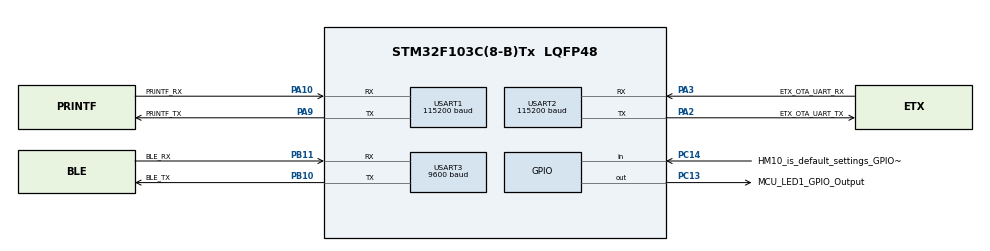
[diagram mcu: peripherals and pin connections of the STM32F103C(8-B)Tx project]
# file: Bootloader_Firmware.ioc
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Mcu.Family=STM32F1
Mcu.Name=STM32F103C(8-B)Tx
Mcu.Package=LQFP48
NVIC.PriorityGroup=NVIC_PRIORITYGROUP_4
PA10.GPIO_Label=PRINTF_RX
PA10.Mode=Asynchronous
PA10.Signal=USART1_RX
PA2.GPIO_Label=ETX_OTA_UART_TX
PA2.Mode=Asynchronous
PA2.Signal=USART2_TX
PA3.GPIO_Label=ETX_OTA_UART_RX
PA3.Mode=Asynchronous
PA3.Signal=USART2_RX
PA9.GPIO_Label=PRINTF_TX
PA9.Mode=Asynchronous
PA9.Signal=USART1_TX
PB10.GPIO_Label=BLE_TX
PB10.Mode=Asynchronous
PB10.Signal=USART3_TX
PB11.GPIO_Label=BLE_RX
PB11.Mode=Asynchronous
PB11.Signal=USART3_RX
PC13-TAMPER-RTC.GPIO_Label=MCU_LED1_GPIO_Output
PC13-TAMPER-RTC.PinState=GPIO_PIN_SET
PC13-TAMPER-RTC.Signal=GPIO_Output
PC14-OSC32_IN.GPIO_Label=HM10_is_default_settings_GPIO_Input
PC14-OSC32_IN.Signal=GPIO_Input
PD0-OSC_IN.Mode=HSE-External-Oscillator
PD0-OSC_IN.Signal=RCC_OSC_IN
PD1-OSC_OUT.Mode=HSE-External-Oscillator
PD1-OSC_OUT.Signal=RCC_OSC_OUT
ProjectManager.HeapSize=0x200
ProjectManager.StackSize=0x400
ProjectManager.TargetToolchain=STM32CubeIDE
RCC.AHBCLKDivider=RCC_SYSCLK_DIV4
RCC.AHBFreq_Value=2000000
RCC.APB1Freq_Value=2000000
RCC.APB1TimFreq_Value=2000000
RCC.APB2Freq_Value=2000000
RCC.APB2TimFreq_Value=2000000
RCC.HCLKFreq_Value=2000000
RCC.PLLSourceVirtual=RCC_PLLSOURCE_HSE
RCC.SYSCLKSource=RCC_SYSCLKSOURCE_HSE
RCC.TimSys_Div=SYSTICK_CLKSOURCE_HCLK_DIV8
RCC.USBFreq_Value=16000000
USART1.BaudRate=115200
USART1.VirtualMode=VM_ASYNC
USART2.BaudRate=115200
USART2.VirtualMode=VM_ASYNC
USART3.BaudRate=9600
USART3.VirtualMode=VM_ASYNC
VP_SYS_VS_ND.Mode=No_Debug
board=custom

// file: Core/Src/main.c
/* USER CODE BEGIN Header */
/** @file
 	@brief	Main file at which the main/actual application of our MCU/MPU lies at.
 *
 * @defgroup main Main module
 * @{
 *
 * @brief	This is the Main Module, which is where the main part of the application of the whole code is executed.
 *
 * @details	The purpose of this module is to provide a code template for any general purpose Bootloader that is desired
 *          to be developed for an STM32 MCU/MPU in which such a template already provides the code to manage and handle
 *          Firmware Updates via the Mortrack's ETX OTA Protocol which uses the @ref firmware_update_config .
 *
 * @note    This @ref main template is actually functioning as a Bootloader Firmware, which has an Application Firmware
 *          counterpart that should be located in an independent project to this, but that should be located just
 *          next to the root folder where this @ref main project's File Path is located at.
 *
 * @details The logic contemplated in this @ref main template assumes that either Bootloader or Application Firmware
 *          Updates will be requested to this @ref main program. The way that this will work is that if this @ref main
 *          program receives a Bootloader Firmware Image via the ETX OTA Protocol made by Mortrack, then it will
 *          temporarily store it into the Flash Memory designated to the Application Firmware (i.e., at
 *          @ref APLICATION_FIRMWARE_ADDRESS ) and then it will reboot. After reboot, this @ref main program expects
 *          that there is another independent program (i.e., The Pre-Bootloader program) installed into our MCU/MPU that
 *          runs first and handles the installation of the temporarily stored Bootloader Firmware Image into the Flash
 *          Memory designated to the Bootloader Firmware (i.e., at @ref BOOTLOADER_FIRMWARE_ADDRESS ) that was just
 *          mentioned. On the other hand, if an Application Firmware Image is received instead by this @ref main
 *          program, then this @ref main program will install it into the Flash Memory designated to the Application
 *          Firmware (i.e., at @ref APLICATION_FIRMWARE_ADDRESS ) and will then also reboot our MCU/MPU. However, if no
 *          Firmware Image Update is requested to our @ref main program for whatever the @ref ETX_CUSTOM_HAL_TIMEOUT
 *          lasts, then our MCU/MPU will jump into whatever Application Firmware Image it has installed in it but only
 *          if its 32-bit CRC validation passes successfully. Otherwise, if there is no Application Firmware Image
 *          installed into our MCU/MPU, then the @ref main program will loop into waiting for a Firmware Image Update
 *          request from a host machine.
 *
 * @note    This @ref main program expects our MCU/MPU to have an Application Firmware counterpart that uses the ETX OTA
 *          Protocol made by Mortrack, which is where the implementer's actual application purpose for our MCU/MPU
 *          should lie on.
 * @note    In the case that the implementer desires to update either only the Bootloader or both the Bootloader and
 *          Application Firmwares of our MCU/MPU, then the order of the updates should strictly be first for the
 *          Bootloader and then the Application should be installed secondly. The reason for this lies in that if only
 *          the Bootloader is updated, then our MCU/MPU will lose its Application Firmware with which it was last
 *          working with, reason for which, whenever updating the Bootloader, then the Application Firmware should also
 *          be updated after that. On the other hand, if only the Application is desired to be updated, then this can be
 *          directly done and the MCU/MPU should maintain its current Bootloader Firmware intact but now with its new
 *          Application Firmware.
 * @note    Only for the first time you install this @ref main Bootloader program into your MCU/MPU, you must do this
 *          Firmware installation via the STM32 ST-LINK Utility application provided by the STMicroelectronics Team. In
 *          addition, you should also install the Pre-Bootloader (located at an independent project to @ref main , next
 *          to the root folder of the @ref main project File Path) also via the STM32 ST-LINK Utility app. After that,
 *          all the subsequent times that you want to install either an updated code of this @ref main Bootloader or an
 *          Application Firmware (Application Firmware template located at independent project to @ref main , next to
 *          the root folder of the @ref main project File Path), then they may now be made and should be made only via
 *          the ETX OTA Protocol made by Mortrack. This is strictly necessary for the Application Firmware because the
 *          Configuration Settings of the @ref firmware_update_config are changed whenever that happens and this is
 *          strictly required and expected by the Application Firmware Installations that uses the ETX OTA Protocol.
 *
 * @author 	Cesar Miranda Meza (cmirandameza3@hotmail.com)
 * @date	February 09, 2024.
 */
/* USER CODE END Header */
#include "main.h"

/* USER CODE BEGIN Includes */
#include <stdio.h>	// Library from which "printf" is located at.
#include <stdint.h> // This library contains the aliases: uint8_t, uint16_t, uint32_t, etc.
#include "bl_side_etx_ota.h" // This custom Mortrack's library contains the functions, definitions and variables required so that the Main module can receive and apply Firmware Update Images to our MCU/MPU.
/* USER CODE END Includes */

/* USER CODE BEGIN PD */
#define BOOTLOADER_FIRMWARE_ADDRESS					(ETX_BL_FLASH_ADDR)						/**< @brief Designated Memory Location address for the Bootloader Firmware. */
#define APLICATION_FIRMWARE_ADDRESS					(ETX_APP_FLASH_ADDR)					/**< @brief Designated Memory Location address for the Application Firmware. */
#define APPLICATION_FIRMWARE_RESET_HANDLER_ADDRESS 	(APLICATION_FIRMWARE_ADDRESS + 4U)		/**< @brief Designated Memory Location address for the Reset Handler of the Application Firmware. */
#define GPIO_MCU_LED1_Pin							(GPIO_PIN_13)							/**< @brief Label for Pin PC13 in Output Mode, which is the Green LED1 of our MCU that the @ref main module will use in its program for indicating to the user whenever our MCU/MPU gets a software error or not. @details The following are the output states to be taken into account:<br><br>* 0 (i.e., Low State and also LED1 turned On) = MCU got a Software Error.<br>* 1 (i.e., High State and also LED1 turned Off) = MCU has no software error. */
#define GPIO_is_hm10_default_settings_Port 			((GPIO_TypeDef *) GPIOC)				/**< @brief @ref GPIO_TypeDef Type of the GPIO Port towards which the Input Mode GPIO Pin PC14 will be used so that our MCU can know whether the user wants it to set the default configuration settings in the HM-10 BT Device or not. */
#define GPIO_is_hm10_default_settings_Pin			(GPIO_PIN_14)							/**< @brief Label for the GPIO Pin 14 towards which the GPIO Pin PC14 in Input Mode is at, which is used so that our MCU can know whether the user wants it to set the default configuration settings in the HM-10 BT Device or not. @details The following are the possible values of this Pin:<br><br>* 0 (i.e., Low State) = Do not reset/change the configuration settings of the HM-10 BT Device.<br>* 1 (i.e., High State) = User requests to reset the configuration settings of the HM-10 BT Device to its default settings. */
#define MAJOR 										(0)										/**< @brief Major version number of our MCU/MPU's Bootloader Firmware. */
#define MINOR 										(4)										/**< @brief Minor version number of our MCU/MPU's Bootloader Firmware. */
/* USER CODE END PD */

UART_HandleTypeDef huart1;
UART_HandleTypeDef huart2;
UART_HandleTypeDef huart3;

/* USER CODE BEGIN PV */
// NOTE: "huart1" is used for debugging messages via printf() from stdio.h library.
// NOTE: "huart2" is used for communicating with the host that will be sending firmware images to our MCU via the ETX OTA Protocol with the UART Hardware Protocol.
// NOTE: "huart3" is used for communicating with the host that will be sending firmware images to our MCU via the ETX OTA Protocol with the BT Hardware Protocol.
const uint8_t BL_version[2] = {MAJOR, MINOR};    /**< @brief Global array variable used to hold the Major and Minor version number of our MCU/MPU's Bootloader Firmware in the 1st and 2nd byte respectively. */
firmware_update_config_data_t fw_config;				 /**< @brief Global struct used to either pass to it the data that we want to write into the designated Flash Memory pages of the @ref firmware_update_config sub-module or, in the case of a read request, where that sub-module will write the latest data contained in the sub-module. */
static HM10_GPIO_def_t GPIO_is_hm10_default_settings;    /**< @brief Global variable that will to hold the GPIO pin parameters of the Input Mode GPIO Pin to be used so that our MCU can know whether the user wants it to set the default configuration settings in the HM-10 BT Device or not. */
/* USER CODE END PV */

void SystemClock_Config(void);
static void MX_GPIO_Init(void);
static void MX_USART1_UART_Init(void);
static void MX_USART2_UART_Init(void);
static void MX_USART3_UART_Init(void);
/* USER CODE BEGIN PFP */

/**@brief	Initializes the @ref firmware_update_config sub-module and then loads the latest data that has been written
 *          into it, if there is any. However, in the case that any of these processes fail, then this function will
 *          endlessly loop via a \c while() function and set the @ref GPIO_MCU_LED1_Pin to @ref GPIO_PIN_RESET state.
 *
 * @details	In case that all the processes conclude successfully, the latest data of the @ref firmware_update_config
 *          sub-module will be copied into the global struct \c fw_config .
 *
 * @details	A maximum of three attempts to initialize this module will be made, with a delay of 0.5 seconds each.
 *
 * @author	César Miranda Meza (cmirandameza3@hotmail.com)
 * @date	November 19, 2023
 */
static void custom_firmware_update_config_init(void);

/**@brief	Initializes the @ref bl_side_etx_ota with a desired Hardware Protocol and, only in the case that the
 *          initialization is unsuccessful, then this function will endlessly loop via a \c while() function and set the
 *          @ref GPIO_MCU_LED1_Pin to @ref GPIO_PIN_RESET state.
 *
 * @details	This function creates and populate the fields of three structs required for initializing the
 *          @ref bl_side_etx_ota via the @ref init_firmware_update_module function. In the case where that function
 *          initializes the @ref bl_side_etx_ota successfully, then this
 *          @ref custom_firmware_update_config_init function will terminate. Otherwise, it will endlessly loop via a \c
 *          while() function and set the @ref GPIO_MCU_LED1_Pin to @ref GPIO_PIN_RESET state.
 *
 * @note    The @ref fw_config Global struct must have already been populated with the latest data written into the
 *          @ref firmware_update_config before calling this function.
 *
 * @param hw_protocol   ETX OTA Hardware Protocol that is desired to enable whenever using the ETX OTA Protocol.
 * @param[in] p_huart   Pointer to the UART that wants to be used from our MCU/MPU as the means for using the chosen ETX
 *                      OTA Hardware Protocol.
 *
 * @author	César Miranda Meza
 * @date	November 19, 2023
 */
static void custom_init_etx_ota_protocol_module(ETX_OTA_hw_Protocol hw_protocol, UART_HandleTypeDef *p_huart);

/**@brief	Validates the CRC of our MCU/MPU's current Bootloader Firmware and, only in the case that the Bootloader
 *          Firmware is not valid or is corrupted, then this function will endlessly loop via a \c while() function and
 *          set the @ref GPIO_MCU_LED1_Pin to @ref GPIO_PIN_RESET state.
 *
 * @details	This function reads the data stored in the @ref firmware_update_config via the @ref fw_config Global struct
 *          to get the recorded CRC of the Bootloader Firmware and it calculates the CRC of the actual Bootloader
 *          Firmware currently installed in our MCU/MPU. After this, both CRCs are used for validating our MCU/MPU's
 *          current Bootloader Firmware. If both CRCs match or if there is no recorded CRC stored at the @ref fw_config
 *          Global struct, then this function will terminate. Otherwise, it will endlessly loop via a \c while()
 *          function and set the @ref GPIO_MCU_LED1_Pin to @ref GPIO_PIN_RESET state.
 *
 * @note    The @ref fw_config Global struct must have already been populated with the latest data written into the
 *          @ref firmware_update_config before calling this function.
 *
 * @author	César Miranda Meza
 * @date	November 19, 2023
 */
static void validate_bootloader_firmware(void);

/**@brief	Validates the CRC of our MCU/MPU's current Application Firmware.
 *
 * @details	This function reads the data stored in the @ref firmware_update_config sub-module to get the recorded CRC of
 *          the Application Firmware and it calculates the CRC of the actual Application Firmware currently installed in
 *          our MCU/MPU. After this, both CRCs are used for validating our MCU/MPU's current Application Firmware.
 *
 * @param[out] is_app_fw_validation_ok  Pointer to the Memory Location Address where the Flag value for used to indicate
 *                                      whether the Application Firmware has been successfully validated or not is
 *                                      located at. The possible valid values of this Flag are the following:<br><br> -
 *                                      0 = There is either no Firmware Image installed at the designated Flash Memory
 *                                      of the Application Firmware or, if there is one, it either did not pass the
 *                                      32-bit CRC validation or, a Bootloader Firmware was identified to be there.<br>
 *                                      - 1 = There is a valid Application Firmware Image installed at the designated
 *                                      Flash Memory of the Application Firmware.
 *
 * @author	César Miranda Meza
 * @date	November 19, 2023
 */
static void validate_application_firmware(uint8_t *is_app_fw_validation_ok);

/**@brief	Flushes the Rx of a desired UART.
 *
 * @param[in] p_huart	Pointer towards the UART from which it is desired to flush its Rx.
 *
 * @author 	Cesar Miranda Meza (cmirandameza3@hotmail.com)
 * @date	February 08, 2024.
 */
static void HAL_uart_rx_flush(UART_HandleTypeDef *p_huart);

/**@brief	Makes our MCU/MPU to jump into its Application Firmware.
 *
 * @author	César Miranda Meza
 * @date	July 16, 2023
 */
static void goto_application_firmware(void);

/* USER CODE END PFP */

int main(void)
{

  /* MCU Configuration--------------------------------------------------------*/

  /* Reset of all peripherals, Initializes the Flash interface and the Systick. */
  HAL_Init();

  /* Configure the system clock */
  SystemClock_Config();

  /* Initialize all configured peripherals */
  MX_GPIO_Init();
  MX_USART1_UART_Init();
  MX_USART2_UART_Init();
  MX_USART3_UART_Init();
  /* USER CODE BEGIN 2 */

  /** <b>Local variable is_app_fw_validation_ok:</b> Flag used to indicate whether the Application Firmware has been successfully validated via its CRC with a \c 1 or, otherwise with a \c 0 . */
  uint8_t is_app_fw_validation_ok = 1;
  /** <b>Local variable end_tick:</b> Will hold the HAL Ticks that our MCU/MPU needs to reach so that 3 seconds have passed with respect to the moment that our MCU/MPU enters into DFU mode. */
  uint32_t end_tick;
  /** <b>Local variable current_tick:</b> Current HAL Tick in our MCU/MPU. */
  uint32_t current_tick;
  /** <b>Local variable ret:</b> Used to hold the exception code value returned by a @ref ETX_OTA_Status function type. */
  ETX_OTA_Status ret;

  /* Send a message from the Bootloader showing the current Bootloader version there. */
  printf("Starting Bootloader v%d.%d\r\n", BL_version[0], BL_version[1]);

  /* We initialize the Firmware Update Configurations sub-module and the ETX OTA Protocol module. */
  custom_firmware_update_config_init();
  custom_init_etx_ota_protocol_module(ETX_OTA_hw_Protocol_BT, &huart3);

  /* Validate both the Bootloader and Application Firmwares in our MCU/MPU. */
  validate_bootloader_firmware();
  validate_application_firmware(&is_app_fw_validation_ok);

  /* Execute the Delay for the Pre ETX OTA Requests Hearing stage and then flush the Rx of the UART from which the ETX OTA Protocol will be used in this MCU/MPU. */
  HAL_Delay(PRE_ETX_OTA_REQUESTS_HEARING_DELAY);
  HAL_uart_rx_flush(&huart3);

  /*
   Check if a Firmware Image is received during the next @ref ETX_CUSTOM_HAL_TIMEOUT seconds and, if true, install it
   if it is an Application Firmware Image. Otherwise, jump the MCU/MPU into its Application Firmware. However, if there
   is no existing or valid Application Firmware installed in our MCU, then wait indefinitely to receive an Application
   Firmware Update via the ETX OTA Protocol.
   */
  end_tick = HAL_GetTick() + ETX_CUSTOM_HAL_TIMEOUT;
  #if ETX_OTA_VERBOSE
    printf("Our MCU/MPU has entered into DFU mode...\r\n");
    printf("Waiting to receive Application Firmware Image to trigger firmware update...\r\n");
  #endif
  do
  {
	  do
	  {
		  printf("Waiting for an ETX OTA Transaction...\r\n");
		  ret = firmware_image_download_and_install();
		  switch (ret)
		  {
			case ETX_OTA_EC_OK:
				#if ETX_OTA_VERBOSE
					if (fw_config.is_bl_fw_install_pending == IS_PENDING)
					{
						printf("DONE: Bootloader Firmware Image has been successfully stored in the Flash Memory! Rebooting MCU/MPU to install it...\r\n");
					}
					else
					{
						printf("DONE: Application Firmware Update has successfully concluded! Rebooting MCU/MPU...\r\n");
					}
				#endif
				HAL_NVIC_SystemReset();
				break;
			case ETX_OTA_EC_STOP:
				#if ETX_OTA_VERBOSE
					printf("DONE: Firmware Update process has been aborted. Try again...\r\n");
				#endif
				current_tick = HAL_GetTick();
				break;
			case ETX_OTA_EC_NR:
				// No response was received from host. Therefore, try hearing for a response from the host again in case our MCU/MPU is still in DFU mode.
				current_tick = HAL_GetTick();
				break;
			case ETX_OTA_EC_NA:
				#if ETX_OTA_VERBOSE
					printf("WARNING: Application or Bootloader Firmware Image was expected, but request for something else was received instead.\r\n");
				#endif
				current_tick = HAL_GetTick();
				break;
			case ETX_OTA_EC_ERR:
				#if ETX_OTA_VERBOSE
				    printf("ERROR: ETX OTA process has failed. Try again...\r\n");
                #endif
                current_tick = HAL_GetTick();
				break;
			default:
				#if ETX_OTA_VERBOSE
					printf("ERROR: Exception Code received %d is not recognized. Our MCU/MPU will halt!.\r\n", ret);
				#endif
				HAL_GPIO_WritePin(GPIOC, GPIO_MCU_LED1_Pin, GPIO_PIN_RESET);
				while (1);
		  }
	  }
	  while ((current_tick<end_tick) || (is_app_fw_validation_ok==0));

	  /* We validate the currently installed Application Firmware once more in our MCU/MPU to verify that it is still OK. */
	  /*
	     NOTE:  The following validation helps the @ref main program to correctly tell if the current Application
	            Firmware is currently valid whenever we have the case that it was originally valid during the
	            initialization of the @ref program, but where "along the way", there was an ETX OTA Firmware Update
	            transaction that could not be completed and, therefore, having as a result that the current Application
	            Firmware is no longer valid. Therefore, by validating the Application Firmware again here, the @ref main
	            program can guarantee to successfully loop in the Bootloader Firmware and continue asking for an ETX OTA
	            Request until an ETX OTA Firmware Update transaction is successfully completed.
      */
	  validate_application_firmware(&is_app_fw_validation_ok);
  }
  while (is_app_fw_validation_ok == 0);
  /* Make the MCU/MPU jump into its Application Firmware. */
  #if ETX_OTA_VERBOSE
    printf("Our MCU/MPU has leaved DFU mode.\r\n");
  #endif
  goto_application_firmware();

  /* USER CODE END 2 */

  /* Infinite loop */
  while (1)
  {

  }
}

void SystemClock_Config(void)
{
  RCC_OscInitTypeDef RCC_OscInitStruct = {0};
  RCC_ClkInitTypeDef RCC_ClkInitStruct = {0};

  /** Initializes the RCC Oscillators according to the specified parameters
  * in the RCC_OscInitTypeDef structure.
  */
  RCC_OscInitStruct.OscillatorType = RCC_OSCILLATORTYPE_HSE;
  RCC_OscInitStruct.HSEState = RCC_HSE_ON;
  RCC_OscInitStruct.PLL.PLLState = RCC_PLL_NONE;
  if (HAL_RCC_OscConfig(&RCC_OscInitStruct) != HAL_OK)
  {
    Error_Handler();
  }

  /** Initializes the CPU, AHB and APB buses clocks
  */
  RCC_ClkInitStruct.ClockType = RCC_CLOCKTYPE_HCLK|RCC_CLOCKTYPE_SYSCLK
                              |RCC_CLOCKTYPE_PCLK1|RCC_CLOCKTYPE_PCLK2;
  RCC_ClkInitStruct.SYSCLKSource = RCC_SYSCLKSOURCE_HSE;
  RCC_ClkInitStruct.AHBCLKDivider = RCC_SYSCLK_DIV4;
  RCC_ClkInitStruct.APB1CLKDivider = RCC_HCLK_DIV1;
  RCC_ClkInitStruct.APB2CLKDivider = RCC_HCLK_DIV1;

  if (HAL_RCC_ClockConfig(&RCC_ClkInitStruct, FLASH_LATENCY_0) != HAL_OK)
  {
    Error_Handler();
  }
}

static void MX_USART1_UART_Init(void)
{

  huart1.Instance = USART1;
  huart1.Init.BaudRate = 115200;
  huart1.Init.WordLength = UART_WORDLENGTH_8B;
  huart1.Init.StopBits = UART_STOPBITS_1;
  huart1.Init.Parity = UART_PARITY_NONE;
  huart1.Init.Mode = UART_MODE_TX_RX;
  huart1.Init.HwFlowCtl = UART_HWCONTROL_NONE;
  huart1.Init.OverSampling = UART_OVERSAMPLING_16;
  if (HAL_UART_Init(&huart1) != HAL_OK)
  {
    Error_Handler();
  }

}

static void MX_USART2_UART_Init(void)
{

  huart2.Instance = USART2;
  huart2.Init.BaudRate = 115200;
  huart2.Init.WordLength = UART_WORDLENGTH_8B;
  huart2.Init.StopBits = UART_STOPBITS_1;
  huart2.Init.Parity = UART_PARITY_NONE;
  huart2.Init.Mode = UART_MODE_TX_RX;
  huart2.Init.HwFlowCtl = UART_HWCONTROL_NONE;
  huart2.Init.OverSampling = UART_OVERSAMPLING_16;
  if (HAL_UART_Init(&huart2) != HAL_OK)
  {
    Error_Handler();
  }

}

static void MX_USART3_UART_Init(void)
{

  huart3.Instance = USART3;
  huart3.Init.BaudRate = 9600;
  huart3.Init.WordLength = UART_WORDLENGTH_8B;
  huart3.Init.StopBits = UART_STOPBITS_1;
  huart3.Init.Parity = UART_PARITY_NONE;
  huart3.Init.Mode = UART_MODE_TX_RX;
  huart3.Init.HwFlowCtl = UART_HWCONTROL_NONE;
  huart3.Init.OverSampling = UART_OVERSAMPLING_16;
  if (HAL_UART_Init(&huart3) != HAL_OK)
  {
    Error_Handler();
  }

}

static void MX_GPIO_Init(void)
{
  GPIO_InitTypeDef GPIO_InitStruct = {0};

  /* GPIO Ports Clock Enable */
  __HAL_RCC_GPIOC_CLK_ENABLE();
  __HAL_RCC_GPIOD_CLK_ENABLE();
  __HAL_RCC_GPIOA_CLK_ENABLE();
  __HAL_RCC_GPIOB_CLK_ENABLE();

  /*Configure GPIO pin Output Level */
  HAL_GPIO_WritePin(GPIOC, GPIO_PIN_13, GPIO_PIN_SET);

  /*Configure GPIO pin : PC13 */
  GPIO_InitStruct.Pin = GPIO_PIN_13;
  GPIO_InitStruct.Mode = GPIO_MODE_OUTPUT_PP;
  GPIO_InitStruct.Pull = GPIO_NOPULL;
  GPIO_InitStruct.Speed = GPIO_SPEED_FREQ_LOW;
  HAL_GPIO_Init(GPIOC, &GPIO_InitStruct);

  /*Configure GPIO pin : PC14 */
  GPIO_InitStruct.Pin = GPIO_PIN_14;
  GPIO_InitStruct.Mode = GPIO_MODE_INPUT;
  GPIO_InitStruct.Pull = GPIO_NOPULL;
  HAL_GPIO_Init(GPIOC, &GPIO_InitStruct);

}

/* USER CODE BEGIN 4 */

/**@brief	Compiler definition to be able to use the @ref printf function from stdio.h library in order to print
 *          characters via the UART1 Peripheral but by using that @ref printf function.
 *
 * @return	The \p ch param.
 *
 * author	César Miranda Meza
 * @date	July 07, 2023
 */
#ifdef __GNUC__
	/* With GCC, small printf (option LD Linker->Libraries->Small printf set to 'Yes') calls __io_putchar(). */
	int __io_putchar(int ch)
#else
	int fputc(int ch, FILE *f)
#endif /* __GNUC__ */
{
	/* Place your implementation of fputc here. */
	/* NOTE: The characters written into the UART1 Protocol will be looped until the end of transmission. */
	HAL_UART_Transmit(&huart1, (uint8_t *)&ch, 1, HAL_MAX_DELAY);
	return ch;
}

static void custom_firmware_update_config_init(void)
{
    /** <b>Local variable ret:</b> Return value of a @ref FirmUpdConf_Status function type. */
    int16_t ret;
    /** <b>Local variable attempts:</b> Counter for the number of attempts to initialize the Firmware Update Configurations sub-module. */
    uint8_t attempts = 0;
    /** <b>Local variable end_tick:</b> Defines the HAL Tick that our MCU/MPU needs to reach so that 0.5 seconds have passed with respect to each attempt to initialize the @ref firmware_update_config . */
    uint32_t end_tick;
    /** <b>Local variable current_tick:</b> Current HAL Tick in our MCU/MPU. */
    uint32_t current_tick;

    #if ETX_OTA_VERBOSE
        printf("Initializing the Firmware Update Configurations sub-module...\r\n");
    #endif
    do
    {
        /* Delay of 500 milliseconds. */
        end_tick = HAL_GetTick() + 500;
        current_tick = 0;
        while (current_tick < end_tick)
        {
            current_tick = HAL_GetTick();
        }

        /* We attempt to initialize the Firmware Update Configurations sub-module. */
        ret = firmware_update_configurations_init();
        attempts++;
        if (ret == FIRM_UPDT_CONF_EC_OK)
        {
            /* We read the latest data that has been written into the Firmware Update Configurations sub-module. */
            firmware_update_configurations_read(&fw_config);
            #if ETX_OTA_VERBOSE
                printf("DONE: Firmware Update Configurations sub-module has been successfully initialized.\r\n");
            #endif

            return;
        }
        #if ETX_OTA_VERBOSE
            printf("WARNING: The Firmware Update Configurations sub-module could not be initialized at attempt %d...\r\n", attempts);
        #endif
    }
    while(attempts < 3);

    #if ETX_OTA_VERBOSE
        printf("ERROR: The Firmware Update Configurations sub-module could not be initialized. Our MCU/MPU will halt!.\r\n");
    #endif
    HAL_GPIO_WritePin(GPIOC, GPIO_MCU_LED1_Pin, GPIO_PIN_RESET);
    while (1);
}

static void custom_init_etx_ota_protocol_module(ETX_OTA_hw_Protocol hw_protocol, UART_HandleTypeDef *p_huart)
{
    /** <b>Local variable ret:</b> Used to hold the exception code value returned by a @ref ETX_OTA_Status function type. */
    ETX_OTA_Status ret;

    #if ETX_OTA_VERBOSE
        printf("Initializing the ETX OTA Firmware Update Module.\r\n");
    #endif
    GPIO_is_hm10_default_settings.GPIO_Port = GPIO_is_hm10_default_settings_Port;
    GPIO_is_hm10_default_settings.GPIO_Pin = GPIO_is_hm10_default_settings_Pin;

    ret = init_firmware_update_module(hw_protocol, p_huart, &fw_config, &GPIO_is_hm10_default_settings);
    if (ret != ETX_OTA_EC_OK)
    {
        #if ETX_OTA_VERBOSE
            printf("ERROR: The ETX OTA Firmware Update Module could not be initialized. Our MCU/MPU will halt!.\r\n");
        #endif
        HAL_GPIO_WritePin(GPIOC, GPIO_MCU_LED1_Pin, GPIO_PIN_RESET);
        while (1);
    }
    #if ETX_OTA_VERBOSE
        printf("DONE: The ETX OTA Firmware Update Module has been successfully initialized.\r\n");
    #endif
}

static void validate_bootloader_firmware(void)
{
    #if ETX_OTA_VERBOSE
        printf("Validating the Bootloader Firmware of our MCU/MPU...\r\n");
    #endif
    if (fw_config.BL_fw_rec_crc != DATA_BLOCK_32BIT_ERASED_VALUE)
    {
        /** <b>Local variable cal_crc:</b> Value holder for the calculated 32-bit CRC of our MCU/MPU's current Bootloader Firmware. */
        uint32_t cal_crc = crc32_mpeg2((uint8_t *) BOOTLOADER_FIRMWARE_ADDRESS, fw_config.BL_fw_size);

        if (cal_crc != fw_config.BL_fw_rec_crc)
        {
            #if ETX_OTA_VERBOSE
                printf("The recorded 32-bit CRC of the installed Bootloader Firmware mismatches with the calculated one: [Calculated CRC = 0x%08X] [Recorded CRC = 0x%08X]\r\n",
                       (unsigned int) cal_crc, (unsigned int) fw_config.BL_fw_rec_crc);
                printf("ERROR: The Bootloader Firmware currently installed in our MCU/MPU is corrupted. Our MCU/MPU will halt!.\r\n");
            #endif
            HAL_GPIO_WritePin(GPIOC, GPIO_MCU_LED1_Pin, GPIO_PIN_RESET);
            while (1);
        }
    }
	#if ETX_OTA_VERBOSE
		printf("DONE: Bootloader Firmware of our MCU/MPU has been successfully validated.\r\n");
	#endif
}

static void validate_application_firmware(uint8_t *is_app_fw_validation_ok)
{
    #if ETX_OTA_VERBOSE
        printf("Validating the Application Firmware of our MCU/MPU...\r\n");
    #endif
    if ((fw_config.App_fw_rec_crc==DATA_BLOCK_32BIT_ERASED_VALUE) || (fw_config.App_fw_size==DATA_BLOCK_32BIT_ERASED_VALUE) || (fw_config.App_fw_size==0x00000000))
    {
        #if ETX_OTA_VERBOSE
            printf("WARNING: No Application Firmware has been identified to be installed in our MCU/MPU.\r\n");
        #endif
        *is_app_fw_validation_ok = 0;
    }
    else if (fw_config.is_bl_fw_stored_in_app_fw == BT_FW_STORED_IN_APP_FW)
    {
        #if ETX_OTA_VERBOSE
            printf("WARNING: A Bootloader Firmware is currently stored at the designated Flash Memory of the Application Firmware of our MCU/MPU.\r\n");
        #endif
        *is_app_fw_validation_ok = 0;
    }
    else
    {
        /** <b>Local variable cal_crc:</b> Value holder for the calculated 32-bit CRC of our MCU/MPU's current Application Firmware. */
        uint32_t cal_crc = crc32_mpeg2((uint8_t *) APLICATION_FIRMWARE_ADDRESS, fw_config.App_fw_size);

        if (cal_crc != fw_config.App_fw_rec_crc)
        {
            #if ETX_OTA_VERBOSE
                printf("WARNING: The recorded 32-bit CRC of the installed Application Firmware Image mismatches with the calculated one: [Calculated CRC = 0x%08X] [Recorded CRC = 0x%08X]\r\n",
                       (unsigned int) cal_crc, (unsigned int) fw_config.App_fw_rec_crc);
            #endif
            *is_app_fw_validation_ok = 0;
        }
    }
    #if ETX_OTA_VERBOSE
		printf("DONE: Application Firmware of our MCU/MPU has been successfully validated.\r\n");
	#endif
}

static void HAL_uart_rx_flush(UART_HandleTypeDef *p_huart)
{
    /** <b>Local variable ret:</b> @ref HAL_StatusTypeDef Type variable used to hold the return value of a HAL function type. */
    HAL_StatusTypeDef  ret;
    /** <b>Local variable buff:</b> @ref uint8_t Type variable used to temporarily hold an available byte of data from the UART from which it is desired to flush its Rx. */
    uint8_t buff;

    /* Receive the HM-10 Device's BT data that is received Over the Air (OTA), if there is any. */
    ret = HAL_UART_Receive(p_huart, &buff, 1, 1);
    if (ret != HAL_TIMEOUT)
    {
        HAL_uart_rx_flush(p_huart);
    }
}

static void goto_application_firmware(void)
{
	/* Create function pointer with no arguments that points to the Memory Location Address of the Reset Handler of the Application Firmware. */
	#if ETX_OTA_VERBOSE
		printf("Jumping into Application Firmware\r\n");
	#endif
	void (*app_reset_handler) (void) = (void*) (*(volatile uint32_t *) (APPLICATION_FIRMWARE_RESET_HANDLER_ADDRESS));

	/* NOTE: Some MCUs might have already the ASM code available so that the Main Stack Pointer (MSP) is recycled, but this is not the case for all MCUs. */
	/* Therefore, if you were to need to do this from scratch, you would have to do the following: */
	//__set_MSP( ( *(volatile uint32_t *) APPLICATION_FIRMWARE_ADDRESS );

	/* Call the Application's Reset Handler. */
	app_reset_handler();
}

/* USER CODE END 4 */

void Error_Handler(void)
{
  __disable_irq();
  while (1)
  {
  }
}

/** @} */
